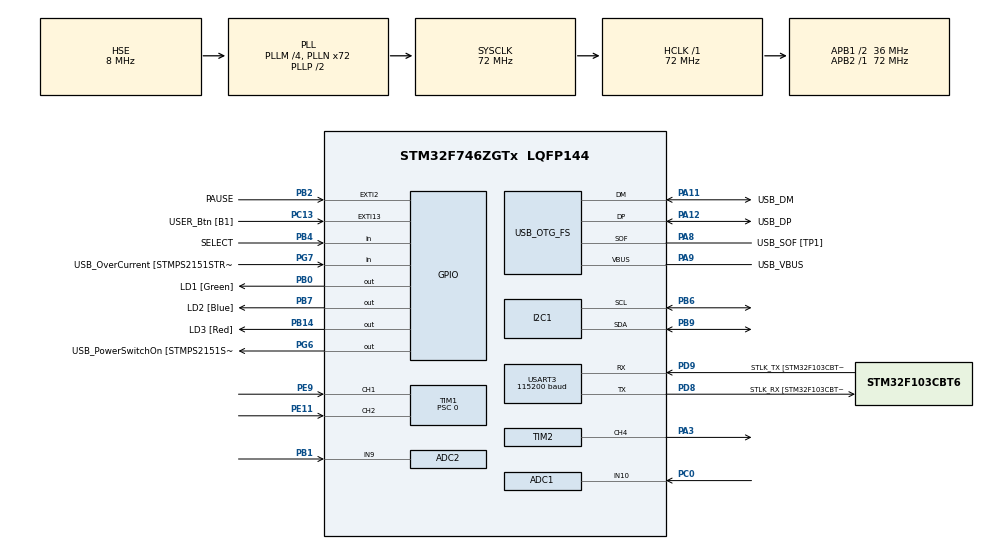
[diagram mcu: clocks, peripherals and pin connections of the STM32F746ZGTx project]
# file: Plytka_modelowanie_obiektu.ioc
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ADC1.Channel-0\#ChannelRegularConversion=ADC_CHANNEL_10
ADC1.NbrOfConversionFlag=1
ADC1.Rank-0\#ChannelRegularConversion=1
ADC1.SamplingTime-0\#ChannelRegularConversion=ADC_SAMPLETIME_3CYCLES
ADC1.master=1
ADC2.Channel-1\#ChannelRegularConversion=ADC_CHANNEL_9
ADC2.NbrOfConversionFlag=1
ADC2.Rank-1\#ChannelRegularConversion=1
ADC2.SamplingTime-1\#ChannelRegularConversion=ADC_SAMPLETIME_3CYCLES
I2C1.Timing=0x00808CD2
Mcu.Family=STM32F7
Mcu.Name=STM32F746ZGTx
Mcu.Package=LQFP144
NVIC.EXTI2_IRQn=true\:1\:0\:true\:false\:true\:true\:true\:true
NVIC.PriorityGroup=NVIC_PRIORITYGROUP_4
NVIC.TIM1_CC_IRQn=true\:3\:0\:true\:false\:true\:true\:true\:true
NVIC.TIM7_IRQn=true\:2\:0\:true\:false\:true\:true\:true\:true
NVIC.USART3_IRQn=true\:1\:0\:true\:false\:true\:true\:true\:true
PA1.GPIO_Label=RMII_REF_CLK [LAN8742A-CZ-TR_REFCLK0]
PA1.Signal=ETH_REF_CLK
PA10.GPIO_Label=USB_ID
PA10.Signal=USB_OTG_FS_ID
PA11.GPIO_Label=USB_DM
PA11.Mode=Device_Only
PA11.Signal=USB_OTG_FS_DM
PA12.GPIO_Label=USB_DP
PA12.Mode=Device_Only
PA12.Signal=USB_OTG_FS_DP
PA13.GPIO_Label=TMS
PA13.Mode=Serial_Wire
PA13.Signal=SYS_JTMS-SWDIO
PA14.GPIO_Label=TCK
PA14.Mode=Serial_Wire
PA14.Signal=SYS_JTCK-SWCLK
PA2.GPIO_Label=RMII_MDIO [LAN8742A-CZ-TR_MDIO]
PA2.Signal=ETH_MDIO
PA3.Signal=S_TIM2_CH4
PA7.GPIO_Label=RMII_CRS_DV [LAN8742A-CZ-TR_CRS_DV]
PA7.Signal=ETH_CRS_DV
PA8.GPIO_Label=USB_SOF [TP1]
PA8.Mode=Activate_SOF_FS
PA8.Signal=USB_OTG_FS_SOF
PA9.GPIO_Label=USB_VBUS
PA9.Mode=Activate_VBUS
PA9.Signal=USB_OTG_FS_VBUS
PB0.GPIO_Label=LD1 [Green]
PB0.Signal=GPIO_Output
PB1.Signal=ADCx_IN9
PB13.GPIO_Label=RMII_TXD1 [LAN8742A-CZ-TR_TXD1]
PB13.Signal=ETH_TXD1
PB14.GPIO_Label=LD3 [Red]
PB14.Signal=GPIO_Output
PB2.GPIO_Label=PAUSE
PB2.Signal=GPXTI2
PB3.GPIO_Label=SW0
PB3.Signal=SYS_JTDO-SWO
PB4.GPIO_Label=SELECT
PB4.Signal=GPIO_Input
PB6.Mode=I2C
PB6.Signal=I2C1_SCL
PB7.GPIO_Label=LD2 [Blue]
PB7.Signal=GPIO_Output
PB9.Mode=I2C
PB9.Signal=I2C1_SDA
PC0.Signal=ADCx_IN10
PC1.GPIO_Label=RMII_MDC [LAN8742A-CZ-TR_MDC]
PC1.Signal=ETH_MDC
PC13.GPIO_Label=USER_Btn [B1]
PC13.Signal=GPXTI13
PC14/OSC32_IN.Mode=LSE-External-Oscillator
PC14/OSC32_IN.Signal=RCC_OSC32_IN
PC15/OSC32_OUT.Mode=LSE-External-Oscillator
PC15/OSC32_OUT.Signal=RCC_OSC32_OUT
PC4.GPIO_Label=RMII_RXD0 [LAN8742A-CZ-TR_RXD0]
PC4.Signal=ETH_RXD0
PC5.GPIO_Label=RMII_RXD1 [LAN8742A-CZ-TR_RXD1]
PC5.Signal=ETH_RXD1
PD8.GPIO_Label=STLK_RX [STM32F103CBT6_PA3]
PD8.GPIO_PuPd=GPIO_PULLUP
PD8.Mode=Asynchronous
PD8.Signal=USART3_TX
PD9.GPIO_Label=STLK_TX [STM32F103CBT6_PA2]
PD9.GPIO_PuPd=GPIO_PULLUP
PD9.Mode=Asynchronous
PD9.Signal=USART3_RX
PE11.Signal=S_TIM1_CH2
PE9.Signal=S_TIM1_CH1
PG11.GPIO_Label=RMII_TX_EN [LAN8742A-CZ-TR_TXEN]
PG11.Signal=ETH_TX_EN
PG13.GPIO_Label=RMII_TXD0 [LAN8742A-CZ-TR_TXD0]
PG13.Signal=ETH_TXD0
PG6.GPIO_Label=USB_PowerSwitchOn [STMPS2151STR_EN]
PG6.Signal=GPIO_Output
PG7.GPIO_Label=USB_OverCurrent [STMPS2151STR_FAULT]
PG7.Signal=GPIO_Input
PH0/OSC_IN.GPIO_Label=MCO [STM32F103CBT6_PA8]
PH0/OSC_IN.Mode=HSE-External-Clock-Source
PH0/OSC_IN.Signal=RCC_OSC_IN
PH1/OSC_OUT.Mode=HSE-External-Clock-Source
PH1/OSC_OUT.Signal=RCC_OSC_OUT
ProjectManager.HeapSize=0x200
ProjectManager.StackSize=0x400
ProjectManager.TargetToolchain=STM32CubeIDE
RCC.48MHZClocksFreq_Value=24000000
RCC.AHBFreq_Value=72000000
RCC.APB1CLKDivider=RCC_HCLK_DIV2
RCC.APB1Freq_Value=36000000
RCC.APB1TimFreq_Value=72000000
RCC.APB2Freq_Value=72000000
RCC.APB2TimFreq_Value=72000000
RCC.CortexFreq_Value=72000000
RCC.HCLKFreq_Value=72000000
RCC.HSE_VALUE=8000000
RCC.HSI_VALUE=16000000
RCC.PLLM=4
RCC.PLLMUL=RCC_PLL_MUL9
RCC.PLLN=72
RCC.PLLQ=3
RCC.PRESCALERUSB=RCC_USBCLKSOURCE_PLL_DIV1_5
RCC.SYSCLKFreq_VALUE=72000000
RCC.SYSCLKSource=RCC_SYSCLKSOURCE_PLLCLK
RCC.SYSCLKSourceVirtual=RCC_SYSCLKSOURCE_PLLCLK
RCC.USBFreq_Value=48000000
RCC.VCOOutputFreq_Value=144000000
SH.ADCx_IN10.0=ADC1_IN10,IN10
SH.ADCx_IN9.0=ADC2_IN9,IN9
SH.S_TIM1_CH1.0=TIM1_CH1,Encoder_Interface
SH.S_TIM1_CH2.0=TIM1_CH2,Encoder_Interface
SH.S_TIM2_CH4.0=TIM2_CH4,PWM Generation4 CH4
TIM1.ClockDivision=TIM_CLOCKDIVISION_DIV1
TIM1.CounterMode=TIM_COUNTERMODE_UP
TIM1.EncoderMode=TIM_ENCODERMODE_TI1
TIM1.IC1Prescaler=TIM_ICPSC_DIV1
TIM1.IC2Prescaler=TIM_ICPSC_DIV1
TIM1.Period=7
TIM1.Prescaler=0
TIM1.RepetitionCounter=0
TIM2.AutoReloadPreload=TIM_AUTORELOAD_PRELOAD_ENABLE
TIM2.Channel-PWM\ Generation4\ CH4=TIM_CHANNEL_4
TIM2.Period=999
TIM2.Prescaler=71
TIM7.AutoReloadPreload=TIM_AUTORELOAD_PRELOAD_ENABLE
TIM7.Period=9999
TIM7.Prescaler=7199
USART3.BaudRate=115200
USART3.VirtualMode-Asynchronous=VM_ASYNC
USB_OTG_FS.VirtualMode=Device_Only
VP_TIM2_VS_ClockSourceINT.Mode=Internal
VP_TIM7_VS_ClockSourceINT.Mode=Enable_Timer
board=NUCLEO-F746ZG

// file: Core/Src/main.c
/* USER CODE BEGIN Header */
/**
  ******************************************************************************
  * @file           : main.c
  * @brief          : Main program body
  ******************************************************************************
  * @attention
  *
  * Copyright (c) 2025 STMicroelectronics.
  * All rights reserved.
  *
  * This software is licensed under terms that can be found in the LICENSE file
  * in the root directory of this software component.
  * If no LICENSE file comes with this software, it is provided AS-IS.
  *
  ******************************************************************************
  */
/* USER CODE END Header */
#include "main.h"
#include "adc.h"
#include "i2c.h"
#include "tim.h"
#include "usart.h"
#include "usb_otg.h"
#include "gpio.h"

/* USER CODE BEGIN Includes */
#include "lcd16x2_i2c.h"
#include <stdlib.h>
#include <stdio.h>
#include <string.h>
/* USER CODE END Includes */

/* USER CODE BEGIN PTD */
typedef float float32_t;

// Struktura do przechowywania parametrów regulatora
typedef struct
{
    float32_t Kp;
    float32_t Ki;
    float32_t Kd;
    float32_t dt;
} pid_parameters_t;

typedef struct
{
    pid_parameters_t p;
    float32_t previous_error, previous_integral;
} pid_t;
/* USER CODE END PTD */

/* USER CODE BEGIN PD */
// Granice możliwości zadania temperatury
#define minSetTemperature 20.0f
#define maxSetTemperature 50.0f
/* USER CODE END PD */

/* USER CODE BEGIN PV */
float temperature = -1000.0f;
float set_point = minSetTemperature;
char rxBuffer[12];
int16_t pwmValue = 0;
uint8_t rxIndex = 0;
uint8_t impulse = 0;
uint8_t pimpulse = 0;
pid_t pid1 = { .p.Kp = 1.54872967509146f, .p.Ki = 0.0184338237431332f, .p.Kd = 0.0f, .p.dt = 1.0f, .previous_error = 0, .previous_integral = 0 };
/* USER CODE END PV */

void SystemClock_Config(void);

int main(void)
{

  /* MCU Configuration--------------------------------------------------------*/

  /* Reset of all peripherals, Initializes the Flash interface and the Systick. */
  HAL_Init();

  /* Configure the system clock */
  SystemClock_Config();

  /* Initialize all configured peripherals */
  MX_GPIO_Init();
  MX_USART3_UART_Init();
  MX_USB_OTG_FS_PCD_Init();
  MX_TIM2_Init();
  MX_TIM7_Init();
  MX_I2C1_Init();
  MX_TIM1_Init();
  MX_ADC1_Init();
  MX_ADC2_Init();
  /* USER CODE BEGIN 2 */
  lcd16x2_i2c_init(&hi2c1); // Inicjalizacja wyświetlacza
  lcd16x2_i2c_cursorShow(true); // Włączenie kursora
  HAL_TIM_PWM_Start (&htim2, TIM_CHANNEL_4); // Inicjalizacja PWM
  HAL_TIM_Base_Start_IT(&htim7); // Inicjalizacja zegara głównego
  HAL_TIM_Encoder_Start_IT(&htim1, TIM_CHANNEL_ALL); // Inicjalizacja enkodera
  HAL_UART_Receive_IT(&huart3, (uint8_t *)&rxBuffer[rxIndex], 1); // Inicjalizacja odbierania komend przez UART

  // Ustawienie wstępne trybu na zadanie PWM
  HAL_GPIO_WritePin(LD2_GPIO_Port, LD2_Pin, GPIO_PIN_SET);

  bool raise = true;
  uint16_t adcValue = 0;
  uint16_t setPWM = 0;
  float setTemperature = minSetTemperature;
  /* USER CODE END 2 */

  /* Infinite loop */
  /* USER CODE BEGIN WHILE */
  while (1)
  {
	  // Po naciśnięciu enkodera:
	  if (HAL_GPIO_ReadPin(SELECT_GPIO_Port, SELECT_Pin) == GPIO_PIN_SET && raise == GPIO_PIN_RESET)
	  {
		  switch(impulse)
		  {
			  case 2:
				  // Wejście w wybór wartości zadanej
				  impulse = 10;
				  break;

			  case 0:
			  case 4:
			  case 6:
				  // Wejście w wybór wartości zadanej
				  impulse = 12;
				  break;

			  case 10:
				  // Powrót do wyświetlania wartości
				  __HAL_TIM_SET_COUNTER(&htim1, 2);
				  impulse = 2;

				  // Obsługa wyświetlacza
				  lcd16x2_i2c_1stLine();
				  lcd16x2_i2c_printf("Wypelnienie PWM ");
				  lcd16x2_i2c_2ndLine();
				  lcd16x2_i2c_printf("wynosi: %4d%%.  ", pwmValue);
				  break;

			  case 11:
				  // Powrót do wyświetlania wartości
				  __HAL_TIM_SET_COUNTER(&htim1, 2);
				  impulse = 2;

				  // Zadanie wartości PWM
				  pwmValue = setPWM;
				  if (HAL_GPIO_ReadPin(LD3_GPIO_Port, LD3_Pin) == GPIO_PIN_RESET)
				  {
					  __HAL_TIM_SET_COMPARE(&htim2, TIM_CHANNEL_4, pwmValue);
				  }

				  // Zmiana trybu na zadanie PWM
				  HAL_GPIO_WritePin(LD2_GPIO_Port, LD2_Pin, GPIO_PIN_SET);

				  // Obsługa wyświetlacza
				  lcd16x2_i2c_1stLine();
				  lcd16x2_i2c_printf("Wypelnienie PWM ");
				  lcd16x2_i2c_2ndLine();
				  lcd16x2_i2c_printf("wynosi: %4d%%.  ", pwmValue);
				  break;

			  case 12:
				  // Powrót do wyświetlania wartości
				  __HAL_TIM_SET_COUNTER(&htim1, 0);
				  impulse = 0;

				  if (temperature >= 0.0f && temperature <= 100.0f )
				  {
					  // Obsługa wyświetlacza
					  lcd16x2_i2c_1stLine();
					  lcd16x2_i2c_printf("Temp. wynosi:   ");
					  lcd16x2_i2c_2ndLine();
					  lcd16x2_i2c_printf("%6.2f stopni C.", temperature);
				  }
				  else
				  {
					  // Obsługa wyświetlacza
					  lcd16x2_i2c_1stLine();
					  lcd16x2_i2c_printf("Temperatura poza");
					  lcd16x2_i2c_2ndLine();
					  lcd16x2_i2c_printf("zakresem        ");
				  }
				  break;

			  case 13:
				  // Powrót do wyświetlania wartości
				  __HAL_TIM_SET_COUNTER(&htim1, 0);
				  impulse = 0;

				  // Zadanie wartości temperatury
				  set_point = setTemperature;

				  // Zmiana trybu na zadanie temperatury
				  HAL_GPIO_WritePin(LD2_GPIO_Port, LD2_Pin, GPIO_PIN_RESET);

				  if (temperature >= 0.0f && temperature <= 100.0f )
				  {
					  // Obsługa wyświetlacza
					  lcd16x2_i2c_1stLine();
					  lcd16x2_i2c_printf("Temp. wynosi:   ");
					  lcd16x2_i2c_2ndLine();
					  lcd16x2_i2c_printf("%6.2f stopni C.", temperature);
				  }
				  else
				  {
					  // Obsługa wyświetlacza
					  lcd16x2_i2c_1stLine();
					  lcd16x2_i2c_printf("Temperatura poza");
					  lcd16x2_i2c_2ndLine();
					  lcd16x2_i2c_printf("zakresem        ");
				  }
				  break;
		  }
	  }

	  switch(impulse)
	  {
	  	  case 10:
	  		  // Sczytanie wartości z potencjometru
	  		  HAL_ADC_Start(&hadc1);
	  		  HAL_ADC_PollForConversion(&hadc1, HAL_MAX_DELAY);
	  		  if (abs(adcValue - HAL_ADC_GetValue(&hadc1)) > 8)
	  		  {
	  			  adcValue = HAL_ADC_GetValue(&hadc1);
	  			  setPWM = adcValue*1000/4095;
	  		  }

	  		  // Obsługa wyświetlacza
	  		  lcd16x2_i2c_1stLine();
	  		  lcd16x2_i2c_printf("Zadac PWM %4d?:", setPWM);
	  		  lcd16x2_i2c_2ndLine();
	  		  lcd16x2_i2c_printf(" Tak  Nie       ");
	  		  lcd16x2_i2c_setCursor(1, 5);
		  	  break;

	  	  case 11:
	  		  // Sczytanie wartości z potencjometru
	  		  HAL_ADC_Start(&hadc1);
	  		  HAL_ADC_PollForConversion(&hadc1, HAL_MAX_DELAY);
	  		  if (abs(adcValue - HAL_ADC_GetValue(&hadc1)) > 8)
	  		  {
	  			  adcValue = HAL_ADC_GetValue(&hadc1);
	  			  setPWM = adcValue*1000/4095;
	  		  }

	  		  // Obsługa wyświetlacza
	  		  lcd16x2_i2c_1stLine();
	  		  lcd16x2_i2c_printf("Zadac PWM %4d?:", setPWM);
	  		  lcd16x2_i2c_2ndLine();
	  		  lcd16x2_i2c_printf(" Tak  Nie       ");
	  		  lcd16x2_i2c_setCursor(1, 0);
	  		  break;

	  	  case 12:
	  		// Sczytanie wartości z potencjometru
	  		  HAL_ADC_Start(&hadc1);
	  		  HAL_ADC_PollForConversion(&hadc1, HAL_MAX_DELAY);
	  		  if (abs(adcValue - HAL_ADC_GetValue(&hadc1)) > 8)
	  		  {
	  			  adcValue = HAL_ADC_GetValue(&hadc1);
	  			  setTemperature = (float)adcValue*(maxSetTemperature - minSetTemperature)/4095.0f + minSetTemperature;
	  		  }

	  		  // Obsługa wyświetlacza
	  		  lcd16x2_i2c_1stLine();
	  		  lcd16x2_i2c_printf("Zadac temp.  Tak");
	  		  lcd16x2_i2c_2ndLine();
	  		  lcd16x2_i2c_printf("%6.2f?:     Nie", setTemperature);
	  		  lcd16x2_i2c_setCursor(1, 12);
		  	  break;

	  	  case 13:
	  		// Sczytanie wartości z potencjometru
	  		  HAL_ADC_Start(&hadc1);
	  		  HAL_ADC_PollForConversion(&hadc1, HAL_MAX_DELAY);
	  		  if (abs(adcValue - HAL_ADC_GetValue(&hadc1)) > 8)
	  		  {
	  			  adcValue = HAL_ADC_GetValue(&hadc1);
	  			  setTemperature = (float)adcValue*(maxSetTemperature - minSetTemperature)/4095.0f + minSetTemperature;
	  		  }

	  		  // Obsługa wyświetlacza
	  		  lcd16x2_i2c_1stLine();
	  		  lcd16x2_i2c_printf("Zadac temp.  Tak");
	  		  lcd16x2_i2c_2ndLine();
	  		  lcd16x2_i2c_printf("%6.2f?:     Nie", setTemperature);
	  		  lcd16x2_i2c_setCursor(0, 12);
		  	  break;
	  }

	  raise = HAL_GPIO_ReadPin(SELECT_GPIO_Port, SELECT_Pin);

	  HAL_Delay(100);
    /* USER CODE END WHILE */

  }
}

void SystemClock_Config(void)
{
  RCC_OscInitTypeDef RCC_OscInitStruct = {0};
  RCC_ClkInitTypeDef RCC_ClkInitStruct = {0};

  /** Configure LSE Drive Capability
  */
  HAL_PWR_EnableBkUpAccess();

  /** Configure the main internal regulator output voltage
  */
  __HAL_RCC_PWR_CLK_ENABLE();
  __HAL_PWR_VOLTAGESCALING_CONFIG(PWR_REGULATOR_VOLTAGE_SCALE3);

  /** Initializes the RCC Oscillators according to the specified parameters
  * in the RCC_OscInitTypeDef structure.
  */
  RCC_OscInitStruct.OscillatorType = RCC_OSCILLATORTYPE_HSE;
  RCC_OscInitStruct.HSEState = RCC_HSE_BYPASS;
  RCC_OscInitStruct.PLL.PLLState = RCC_PLL_ON;
  RCC_OscInitStruct.PLL.PLLSource = RCC_PLLSOURCE_HSE;
  RCC_OscInitStruct.PLL.PLLM = 4;
  RCC_OscInitStruct.PLL.PLLN = 72;
  RCC_OscInitStruct.PLL.PLLP = RCC_PLLP_DIV2;
  RCC_OscInitStruct.PLL.PLLQ = 3;
  if (HAL_RCC_OscConfig(&RCC_OscInitStruct) != HAL_OK)
  {
    Error_Handler();
  }

  /** Initializes the CPU, AHB and APB buses clocks
  */
  RCC_ClkInitStruct.ClockType = RCC_CLOCKTYPE_HCLK|RCC_CLOCKTYPE_SYSCLK
                              |RCC_CLOCKTYPE_PCLK1|RCC_CLOCKTYPE_PCLK2;
  RCC_ClkInitStruct.SYSCLKSource = RCC_SYSCLKSOURCE_PLLCLK;
  RCC_ClkInitStruct.AHBCLKDivider = RCC_SYSCLK_DIV1;
  RCC_ClkInitStruct.APB1CLKDivider = RCC_HCLK_DIV2;
  RCC_ClkInitStruct.APB2CLKDivider = RCC_HCLK_DIV1;

  if (HAL_RCC_ClockConfig(&RCC_ClkInitStruct, FLASH_LATENCY_2) != HAL_OK)
  {
    Error_Handler();
  }
}

/* USER CODE BEGIN 4 */
// Funkcja do wysyłania danych przez UART
void UART_SendData(float temp)
{
    char buffer[50];
    int len = snprintf(buffer, sizeof(buffer), "temp=%.2f\n", temp);
    HAL_UART_Transmit(&huart3, (uint8_t *)buffer, len, 50);
}

/**
Calculation of discrete PID
* @param [in, out] s A pointer to PID parameters and history
* @param [in] setpoint Input setpoint value
* @param [in] measured Input measured value
* @return PID output value
**/
// Algorytm regulatora
float32_t calculate_discrete_pid(pid_t* pid, float32_t setpoint, float32_t measured) {
    float32_t u = 0.0f, P, I, D, error, integral, derivative;

    error = setpoint - measured;

    // proportional part
    P = pid->p.Kp * error;

    // integral part
    integral = pid->previous_integral + (error + pid->previous_error); // numerical integrator without anti-windup
    pid->previous_integral = integral;
    I = pid->p.Ki * integral * (pid->p.dt / 2.0f);

    // derivative part
    derivative = (error - pid->previous_error) / pid->p.dt; // numerical derivative without filter
    pid->previous_error = error;
    D = pid->p.Kd * derivative;

    // sum of all parts
    u = P + I + D; // without saturation

    return u;
}

// Pomiar temperatury, aktualizowanie danych o pomiar, regulacja PWM
void HAL_TIM_PeriodElapsedCallback(TIM_HandleTypeDef *htim)
{
    // Odczyt temperatury
	HAL_ADC_Start(&hadc2);
	HAL_ADC_PollForConversion(&hadc2, HAL_MAX_DELAY);
	uint16_t adcTemperature = HAL_ADC_GetValue(&hadc2);
    temperature = adcTemperature*3.3f/0.01f/4095.0f;

    // Sprawdzanie poprawności odczytu
    if (temperature >= 0.0f && temperature <= 100.0f )
    {
        // Wysyłanie danych przez UART
        UART_SendData(temperature);

        switch (impulse)
        {
        	case 0:
        		// Obsługa wyświetlacza
    	        lcd16x2_i2c_1stLine();
    	        lcd16x2_i2c_printf("Temp. wynosi:   ");
    	        lcd16x2_i2c_2ndLine();
    	        lcd16x2_i2c_printf("%6.2f stopni C.", temperature);
        		break;

        	case 2:
        		// Obsługa wyświetlacza
				lcd16x2_i2c_1stLine();
				lcd16x2_i2c_printf("Wypelnienie PWM ");
				lcd16x2_i2c_2ndLine();
				lcd16x2_i2c_printf("wynosi: %4d%%.  ", pwmValue);
        		break;

        	case 4:
        		// Obsługa wyświetlacza
				lcd16x2_i2c_1stLine();
				lcd16x2_i2c_printf("Uchyb temp.:    ");
				lcd16x2_i2c_2ndLine();
				lcd16x2_i2c_printf("%6.2f stopni C.", set_point - temperature);
        		break;

        	case 6:
        		// Obsługa wyświetlacza
				lcd16x2_i2c_1stLine();
				lcd16x2_i2c_printf("Zadana temp.:   ");
				lcd16x2_i2c_2ndLine();
				lcd16x2_i2c_printf("%6.2f stopni C.", set_point);
        		break;
        }

        if(HAL_GPIO_ReadPin(LD2_GPIO_Port, LD2_Pin) == GPIO_PIN_RESET && HAL_GPIO_ReadPin(LD3_GPIO_Port, LD3_Pin) == GPIO_PIN_RESET)
        {
			// Calculate controller output
			// Użycie algorytmu regulatora
			float pwm_duty_f = (1000.0f*calculate_discrete_pid(&pid1, set_point, temperature));
			// Nasycenie ograniczające do przedziału <0; 1000>
			if(pwm_duty_f < 0)
			{
				pwmValue = 0;
			}
			else if(pwm_duty_f > 1000.0f)
			{
				pwmValue = 1000;
			}
			else
			{
				pwmValue = (uint16_t)pwm_duty_f;
			}

			// Use control signal
			// użycie wyjścia regulatora, by zmienić impuls PWM (na użądzeniu wykonawczym)
			__HAL_TIM_SET_COMPARE (&htim2, TIM_CHANNEL_4, pwmValue); //PWM f = 1 kHz
        }
    }
    else
    {
        // Obsługa błędu (np. brak czujnika)
    	char error[] = "Temperatura poza zakresem – możliwe niepoprawne podłączenie czujnika.\n";
    	HAL_UART_Transmit(&huart3, (uint8_t *)error, strlen(error), 50); // Wysłanie błędu

    	if (impulse == 0 || impulse == 4 || impulse == 6)
		{
    		// Obsługa wyświetlacza
			lcd16x2_i2c_1stLine();
			lcd16x2_i2c_printf("Temperatura poza");
			lcd16x2_i2c_2ndLine();
			lcd16x2_i2c_printf("zakresem        ");
		}
    	else if(impulse == 2)
		{
    		// Obsługa wyświetlacza
			lcd16x2_i2c_1stLine();
			lcd16x2_i2c_printf("Wypelnienie PWM ");
			lcd16x2_i2c_2ndLine();
			lcd16x2_i2c_printf("wynosi: %4d%%.  ", pwmValue);
		}
    }
    // 4 - Toggle LED1
    HAL_GPIO_TogglePin(LD1_GPIO_Port, LD1_Pin);
}

// Obsługa obrotów enkodera (poruszanie się po interfejsie)
void HAL_TIM_IC_CaptureCallback(TIM_HandleTypeDef *htim)
{
	if (__HAL_TIM_GET_COUNTER(&htim1)%2 == 0 && __HAL_TIM_GET_COUNTER(&htim1) != pimpulse)
	{
		// Zmiana widocznej wartości
		if (impulse < 10)
		{
    		impulse = __HAL_TIM_GET_COUNTER(&htim1);
    		if (HAL_GPIO_ReadPin(LD2_GPIO_Port, LD2_Pin) == GPIO_PIN_SET)
    		{
        		impulse %= 4;
    		}
		}
	    switch(impulse)
	    {
	    	case 0:
	    		if (temperature >= 0.0f && temperature <= 100.0f )
	    		    {
	    				// Obsługa wyświetlacza
	    		        lcd16x2_i2c_1stLine();
	    		        lcd16x2_i2c_printf("Temp. wynosi:   ");
	    		        lcd16x2_i2c_2ndLine();
	    		        lcd16x2_i2c_printf("%6.2f stopni C.", temperature);
	    		    }
	    		    else
	    		    {
	    		    	// Obsługa wyświetlacza
	    		        lcd16x2_i2c_1stLine();
	    		        lcd16x2_i2c_printf("Temperatura poza");
	    		        lcd16x2_i2c_2ndLine();
	    		        lcd16x2_i2c_printf("zakresem        ");
	    		    }
	    		break;

	    	case 2:
	    			// Obsługa wyświetlacza
					lcd16x2_i2c_1stLine();
					lcd16x2_i2c_printf("Wypelnienie PWM ");
					lcd16x2_i2c_2ndLine();
					lcd16x2_i2c_printf("wynosi: %4d%%.  ", pwmValue);
	    		break;

	    	case 4:
	    		if (temperature >= 0.0f && temperature <= 100.0f )
	    		{
	    			// Obsługa wyświetlacza
					lcd16x2_i2c_1stLine();
					lcd16x2_i2c_printf("Uchyb temp.:    ");
					lcd16x2_i2c_2ndLine();
					lcd16x2_i2c_printf("%6.2f stopni C.", set_point - temperature);
	    		}
	    		else
				{
	    			// Obsługa wyświetlacza
					lcd16x2_i2c_1stLine();
					lcd16x2_i2c_printf("Temperatura poza");
					lcd16x2_i2c_2ndLine();
					lcd16x2_i2c_printf("zakresem        ");
				}
		        break;

	    	case 6:
	    		if (temperature >= 0.0f && temperature <= 100.0f )
	    		{
	    			// Obsługa wyświetlacza
					lcd16x2_i2c_1stLine();
					lcd16x2_i2c_printf("Zadana temp.:   ");
					lcd16x2_i2c_2ndLine();
					lcd16x2_i2c_printf("%6.2f stopni C.", set_point);
	    		}
	    		else
				{
	    			// Obsługa wyświetlacza
					lcd16x2_i2c_1stLine();
					lcd16x2_i2c_printf("Temperatura poza");
					lcd16x2_i2c_2ndLine();
					lcd16x2_i2c_printf("zakresem        ");
				}
	    		break;

	    	// Dalsze case’y – zmiana Tak/Nie
	    	case 10:
	    		impulse = 11;
	    		break;

	    	case 11:
	    		impulse = 10;
	    		break;

	    	case 12:
	    		impulse = 13;
	    		break;

	    	case 13:
	    		impulse = 12;
	    		break;
	    }
	}
	pimpulse = __HAL_TIM_GET_COUNTER(&htim1);
}

// Odbieranie wartości zadanych z UART-a
void HAL_UART_RxCpltCallback(UART_HandleTypeDef *huart)
{
	// Sprawdzenie, czy odebrany znak to '\n'
	if (rxBuffer[rxIndex] == ';') {
		rxBuffer[rxIndex] = '\0'; // Zakończenie stringa

		// Sprawdzenie, czy komenda zaczyna się od "PWM1="
		if (strncmp(rxBuffer, "PWM1=", 5u) == 0) {
			int tpwmValue = atoi(&rxBuffer[5]); // Konwersja na liczbę

			if (tpwmValue >= 0 && tpwmValue <= 1000) { // Zakres 0-1000%o
				// Ustawienie wypełnienia PWM (TIM2, kanał 4)
				pwmValue = tpwmValue;
				if (HAL_GPIO_ReadPin(LD3_GPIO_Port, LD3_Pin) == GPIO_PIN_RESET)
				{
					__HAL_TIM_SET_COMPARE(&htim2, TIM_CHANNEL_4, pwmValue);
				}

				// Zmiana trybu na zadanie PWM
				HAL_GPIO_WritePin(LD2_GPIO_Port, LD2_Pin, GPIO_PIN_SET);

				// Wyświetlanie PWM, jeśli wyświetlało uchyb lub temperaturę zadaną
				if(impulse == 4 || impulse == 6)
				{
					  __HAL_TIM_SET_COUNTER(&htim1, 2);
					  impulse = 2;
				}

				if (impulse == 2)
				{
					// Obsługa wyświetlacza
					lcd16x2_i2c_1stLine();
					lcd16x2_i2c_printf("Wypelnienie PWM ");
					lcd16x2_i2c_2ndLine();
					lcd16x2_i2c_printf("wynosi: %4d%%.  ", pwmValue);
				}
			}
			else
			{
				char error[] = "Brak efektu. PWM1 musi wynosić między 0 a 1000.\n";
				HAL_UART_Transmit(&huart3, (uint8_t *)error, strlen(error), 50);
			}
		}

		// Sprawdzenie, czy komenda zaczyna się od "PID1="
		else if(strncmp(rxBuffer, "PID1=", 5u) == 0)
		{
			int tset_point = atof(&rxBuffer[5]); // Konwersja na liczbę

			if (tset_point >= minSetTemperature && tset_point <= maxSetTemperature) { // Zakres minSetTemperature-maxSetTemperature
				// Ustawienie wypełnienia PWM (TIM2, kanał 4)
				set_point = tset_point;

				// Zmiana trybu na zadanie temperatury
				HAL_GPIO_WritePin(LD2_GPIO_Port, LD2_Pin, GPIO_PIN_RESET);

				switch (impulse)
				{
					case 4:
			    		if (temperature >= 0.0f && temperature <= 100.0f )
			    		{
			    			// Obsługa wyświetlacza
							lcd16x2_i2c_1stLine();
							lcd16x2_i2c_printf("Uchyb temp.:    ");
							lcd16x2_i2c_2ndLine();
							lcd16x2_i2c_printf("%6.2f stopni C.", set_point - temperature);
						}
						else
						{
							// Obsługa wyświetlacza
							lcd16x2_i2c_1stLine();
							lcd16x2_i2c_printf("Temperatura poza");
							lcd16x2_i2c_2ndLine();
							lcd16x2_i2c_printf("zakresem        ");
						}
						break;

					case 6:
			    		if (temperature >= 0.0f && temperature <= 100.0f )
			    		{
			    			// Obsługa wyświetlacza
							lcd16x2_i2c_1stLine();
							lcd16x2_i2c_printf("Zadana temp.:   ");
							lcd16x2_i2c_2ndLine();
							lcd16x2_i2c_printf("%6.2f stopni C.", set_point);
						}
						else
						{
							// Obsługa wyświetlacza
							lcd16x2_i2c_1stLine();
							lcd16x2_i2c_printf("Temperatura poza");
							lcd16x2_i2c_2ndLine();
							lcd16x2_i2c_printf("zakresem        ");
						}
						break;
				}
			}
			else
			{
				char error[100];
				sprintf(error, "Brak efektu. PID1 musi wynosić między %.2f a %.2f.\n", minSetTemperature, maxSetTemperature);
				HAL_UART_Transmit(&huart3, (uint8_t *)error, strlen(error), 50);
			}
		}
		else
		{
			char error[] = "Podana składnia nie przynosi efektu.\n";
			HAL_UART_Transmit(&huart3, (uint8_t *)error, strlen(error), 50);
		}
		rxIndex = 0; // Reset indeksu
	} else {
		rxIndex++;
		if (rxIndex >= sizeof(rxBuffer)) {
			rxIndex = 0; // Zabezpieczenie przed przepełnieniem bufora
		}
	}
	// Kontynuacja odbioru kolejnego znaku
	HAL_UART_Receive_IT(&huart3, (uint8_t *)&rxBuffer[rxIndex], 1);
}

// Pauzowanie programu przyciskiem
void HAL_GPIO_EXTI_Callback(uint16_t GPIO_Pin){
	if (HAL_GPIO_ReadPin(LD3_GPIO_Port, LD3_Pin) == GPIO_PIN_SET)
	{
		__HAL_TIM_SET_COMPARE(&htim2, TIM_CHANNEL_4, pwmValue);
	}
	else
	{
		__HAL_TIM_SET_COMPARE(&htim2, TIM_CHANNEL_4, 0);
	}
	HAL_GPIO_TogglePin(LD3_GPIO_Port, LD3_Pin);
}
/* USER CODE END 4 */

void Error_Handler(void)
{
  __disable_irq();
  while (1)
  {
  }
}
